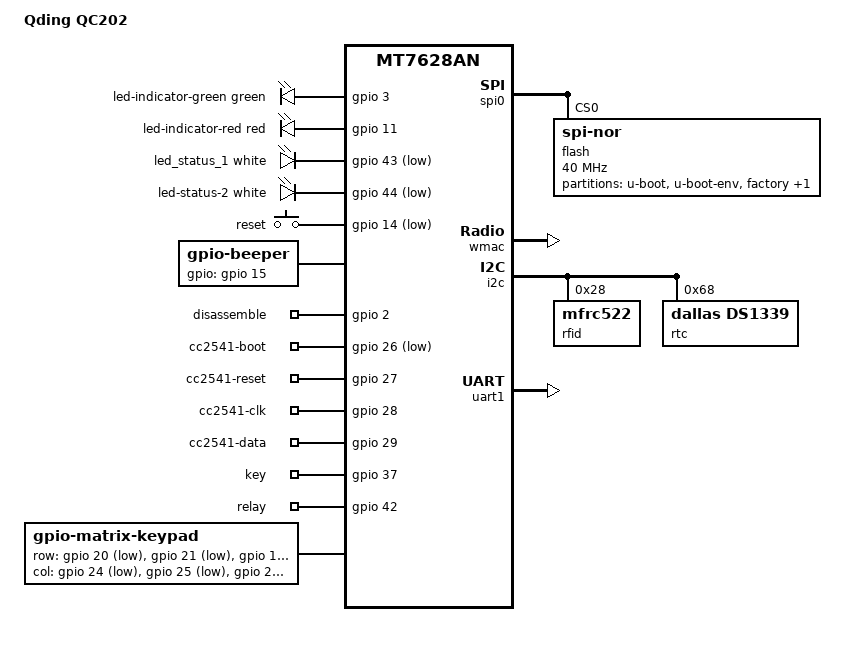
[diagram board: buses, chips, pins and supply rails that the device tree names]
// SPDX-License-Identifier: GPL-2.0-or-later OR MIT

#include "mt7628an.dtsi"

#include <dt-bindings/gpio/gpio.h>
#include <dt-bindings/input/input.h>
#include <dt-bindings/leds/common.h>

/ {
	compatible = "qding,qc202", "mediatek,mt7628an-soc";
	model = "Qding QC202";

	aliases {
		led-boot = &led_status_1;
		led-failsafe = &led_status_1;
		led-running = &led_status_1;
		led-upgrade = &led_status_1;
		label-mac-device = &wmac;
	};

	leds {
		compatible = "gpio-leds";

		led-indicator-green {
			gpios = <&gpio 3 GPIO_ACTIVE_HIGH>;
			color = <LED_COLOR_ID_GREEN>;
			function = LED_FUNCTION_INDICATOR;
		};

		led-indicator-red {
			gpios = <&gpio 11 GPIO_ACTIVE_HIGH>;
			color = <LED_COLOR_ID_RED>;
			function = LED_FUNCTION_INDICATOR;
		};

		led_status_1: led-status-1 {
			gpios = <&gpio 43 GPIO_ACTIVE_LOW>;
			color = <LED_COLOR_ID_WHITE>;
			function-enumerator = <1>;
			function = LED_FUNCTION_STATUS;
		};

		led-status-2 {
			gpios = <&gpio 44 GPIO_ACTIVE_LOW>;
			color = <LED_COLOR_ID_WHITE>;
			function-enumerator = <2>;
			function = LED_FUNCTION_STATUS;
		};
	};

	keys {
		compatible = "gpio-keys";

		reset {
			label = "reset";
			gpios = <&gpio 14 GPIO_ACTIVE_LOW>;
			linux,code = <KEY_RESTART>;
		};
	};

	beeper {
		compatible = "gpio-beeper";
		gpios = <&gpio 15 GPIO_ACTIVE_HIGH>;
	};

	gpio-export {
		compatible = "gpio-export";

		// When device is disassembled, GPIO will be activated
		disassemble {
			gpio-export,name = "disassemble";
			gpios = <&gpio 2 GPIO_ACTIVE_HIGH>;
		};

		cc2541-boot {
			gpio-export,name = "cc2541-boot";
			gpio-export,output = <0>;
			gpios = <&gpio 26 GPIO_ACTIVE_LOW>;
		};

		cc2541-reset {
			gpio-export,name = "cc2541-reset";
			gpio-export,output = <0>;
			gpios = <&gpio 27 GPIO_ACTIVE_HIGH>;
		};

		cc2541-clk {
			gpio-export,name = "cc2541-clk";
			gpio-export,output = <0>;
			gpios = <&gpio 28 GPIO_ACTIVE_HIGH>;
		};

		cc2541-data {
			gpio-export,name = "cc2541-data";
			gpio-export,direction_may_change;
			gpios = <&gpio 29 GPIO_ACTIVE_HIGH>;
		};

		/*
		   When "OPEN THE DOOR" button is pressed
		   GPIO will be activated via the KEY signal cable
		*/
		key {
			gpio-export,name = "key";
			gpios = <&gpio 37 GPIO_ACTIVE_HIGH>;
		};

		// Activate GPIO to control the relay to open the door
		relay {
			gpio-export,name = "relay";
			gpio-export,output = <0>;
			gpios = <&gpio 42 GPIO_ACTIVE_HIGH>;
		};
	};

	matrix-keypad {
		compatible = "gpio-matrix-keypad";
		debounce-delay-ms = <10>;
		col-scan-delay-us = <10>;
		gpio-activelow;
		wakeup-source;

		row-gpios = <&gpio 20 GPIO_ACTIVE_LOW
			     &gpio 21 GPIO_ACTIVE_LOW
			     &gpio 19 GPIO_ACTIVE_LOW>;

		col-gpios = <&gpio 24 GPIO_ACTIVE_LOW
			     &gpio 25 GPIO_ACTIVE_LOW
			     &gpio 22 GPIO_ACTIVE_LOW
			     &gpio 23 GPIO_ACTIVE_LOW>;

		linux,keymap = <MATRIX_KEY(0, 0, KEY_1)
				MATRIX_KEY(1, 0, KEY_2)
				MATRIX_KEY(2, 0, KEY_3)
				MATRIX_KEY(0, 1, KEY_4)
				MATRIX_KEY(1, 1, KEY_5)
				MATRIX_KEY(2, 1, KEY_6)
				MATRIX_KEY(0, 2, KEY_7)
				MATRIX_KEY(1, 2, KEY_8)
				MATRIX_KEY(2, 2, KEY_9)
				MATRIX_KEY(0, 3, KEY_BACK)
				MATRIX_KEY(1, 3, KEY_0)
				MATRIX_KEY(2, 3, KEY_ENTER)>;
	};
};

&state_default {
	gpio {
		groups = "i2s", "gpio", "spis", "pwm1", "uart2", "sdmode", "refclk", "p1led_an", "p0led_an", "wled_an";
		function = "gpio";
	};
};

&spi0 {
	status = "okay";

	flash@0 {
		compatible = "jedec,spi-nor";
		reg = <0>;
		spi-max-frequency = <40000000>;

		partitions {
			compatible = "fixed-partitions";
			#address-cells = <1>;
			#size-cells = <1>;

			partition@0 {
				label = "u-boot";
				reg = <0x0 0x30000>;
				read-only;
			};

			partition@30000 {
				label = "u-boot-env";
				reg = <0x30000 0x10000>;
				read-only;
			};

			partition@40000 {
				label = "factory";
				reg = <0x40000 0x10000>;
				read-only;

				nvmem-layout {
					compatible = "fixed-layout";
					#address-cells = <1>;
					#size-cells = <1>;

					eeprom_factory_0: eeprom@0 {
						reg = <0x0 0x400>;
					};

					macaddr_factory_4: macaddr@4 {
						compatible = "mac-base";
						reg = <0x4 0x6>;
					};
				};
			};

			partition@50000 {
				compatible = "denx,uimage";
				label = "firmware";
				reg = <0x50000 0x7b0000>;
			};
		};
	};
};

&ethernet {
	nvmem-cells = <&macaddr_factory_4 (-1)>;
	nvmem-cell-names = "mac-address";
};

&esw {
	mediatek,portmap = <0x3f>;
	mediatek,portdisable = <0x3e>;
};

&wmac {
	status = "okay";

	nvmem-cells = <&eeprom_factory_0>;
	nvmem-cell-names = "eeprom";
};

&i2c {
	status = "okay";

	rfid@28 {
		compatible = "mfrc522";
		reg = <0x28>;
	};

	rtc@68 {
		compatible = "dallas,ds1339";
		reg = <0x68>;
	};
};

&uart1 {
	status = "okay";
};
